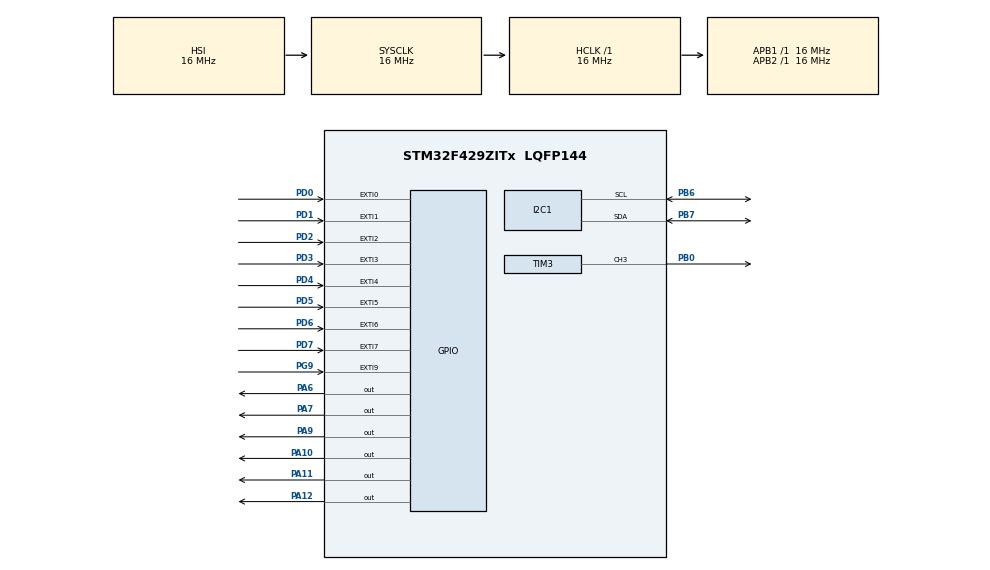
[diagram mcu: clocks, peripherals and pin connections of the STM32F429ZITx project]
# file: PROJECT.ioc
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Mcu.Family=STM32F4
Mcu.Name=STM32F429ZITx
Mcu.Package=LQFP144
NVIC.EXTI0_IRQn=true\:0\:0\:false\:false\:true\:true\:true\:true
NVIC.EXTI1_IRQn=true\:0\:0\:false\:false\:true\:true\:true\:true
NVIC.EXTI2_IRQn=true\:0\:0\:false\:false\:true\:true\:true\:true
NVIC.EXTI3_IRQn=true\:0\:0\:false\:false\:true\:true\:true\:true
NVIC.EXTI4_IRQn=true\:0\:0\:false\:false\:true\:true\:true\:true
NVIC.EXTI9_5_IRQn=true\:0\:0\:false\:false\:true\:true\:true\:true
NVIC.PriorityGroup=NVIC_PRIORITYGROUP_4
PA10.Signal=GPIO_Output
PA11.Signal=GPIO_Output
PA12.Signal=GPIO_Output
PA6.Signal=GPIO_Output
PA7.Signal=GPIO_Output
PA9.Signal=GPIO_Output
PB0.Signal=S_TIM3_CH3
PB6.Mode=I2C
PB6.Signal=I2C1_SCL
PB7.Mode=I2C
PB7.Signal=I2C1_SDA
PD0.GPIO_ModeDefaultEXTI=GPIO_MODE_IT_FALLING
PD0.GPIO_PuPd=GPIO_PULLUP
PD0.Signal=GPXTI0
PD1.GPIO_ModeDefaultEXTI=GPIO_MODE_IT_FALLING
PD1.GPIO_PuPd=GPIO_PULLUP
PD1.Signal=GPXTI1
PD2.GPIO_ModeDefaultEXTI=GPIO_MODE_IT_FALLING
PD2.GPIO_PuPd=GPIO_PULLUP
PD2.Signal=GPXTI2
PD3.GPIO_ModeDefaultEXTI=GPIO_MODE_IT_FALLING
PD3.GPIO_PuPd=GPIO_PULLUP
PD3.Signal=GPXTI3
PD4.GPIO_ModeDefaultEXTI=GPIO_MODE_IT_FALLING
PD4.GPIO_PuPd=GPIO_PULLUP
PD4.Signal=GPXTI4
PD5.GPIO_ModeDefaultEXTI=GPIO_MODE_IT_FALLING
PD5.GPIO_PuPd=GPIO_PULLUP
PD5.Signal=GPXTI5
PD6.GPIO_ModeDefaultEXTI=GPIO_MODE_IT_FALLING
PD6.GPIO_PuPd=GPIO_PULLUP
PD6.Signal=GPXTI6
PD7.GPIO_ModeDefaultEXTI=GPIO_MODE_IT_FALLING
PD7.GPIO_PuPd=GPIO_PULLUP
PD7.Signal=GPXTI7
PG9.GPIO_ModeDefaultEXTI=GPIO_MODE_IT_FALLING
PG9.GPIO_PuPd=GPIO_PULLUP
PG9.Signal=GPXTI9
ProjectManager.HeapSize=0x200
ProjectManager.StackSize=0x400
ProjectManager.TargetToolchain=CMake
RCC.AHBFreq_Value=16000000
RCC.APB1Freq_Value=16000000
RCC.APB2Freq_Value=16000000
RCC.CortexFreq_Value=16000000
RCC.HSE_VALUE=25000000
RCC.HSI_VALUE=16000000
RCC.LSE_VALUE=32768
RCC.SYSCLKFreq_VALUE=16000000
RCC.VCOOutputFreq_Value=192000000
SH.S_TIM3_CH3.0=TIM3_CH3,PWM Generation3 CH3
TIM3.Channel-PWM\ Generation3\ CH3=TIM_CHANNEL_3
VP_TIM3_VS_ClockSourceINT.Mode=Internal
board=custom

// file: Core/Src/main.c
/* USER CODE BEGIN Header */
/**
  ******************************************************************************
  * @file           : main.c
  * @brief          : Main program body
  ******************************************************************************
  * @attention
  *
  * Copyright (c) 2026 STMicroelectronics.
  * All rights reserved.
  *
  * This software is licensed under terms that can be found in the LICENSE file
  * in the root directory of this software component.
  * If no LICENSE file comes with this software, it is provided AS-IS.
  *
  ******************************************************************************
  */
/* USER CODE END Header */
#include "main.h"

/* USER CODE BEGIN Includes */
#include <stdio.h>
#include "lcd.h"
#include "game.h"
#include "button.h"
#include "led.h"
#include "buzzer.h"
/* USER CODE END Includes */

I2C_HandleTypeDef hi2c1;

TIM_HandleTypeDef htim3;

void SystemClock_Config(void);
static void MX_GPIO_Init(void);
static void MX_I2C1_Init(void);
static void MX_TIM3_Init(void);

/* USER CODE BEGIN 0 */

/* turn_off_all_leds() and turn_on_led() moved to led.c */

/* USER CODE END 0 */

int main(void)
{

  /* MCU Configuration--------------------------------------------------------*/

  /* Reset of all peripherals, Initializes the Flash interface and the Systick. */
  HAL_Init();

  /* Configure the system clock */
  SystemClock_Config();

  /* Initialize all configured peripherals */
  MX_GPIO_Init();
  MX_I2C1_Init();
  MX_TIM3_Init();
  /* USER CODE BEGIN 2 */
    buzzer_init();
    lcd_init();
    reset_state();
    lcd_set_cursor(0, 0);
    lcd_print_game(level, get_score());

  /* USER CODE END 2 */

  /* Infinite loop */
  while (1)
  {

    /* USER CODE BEGIN 3 */
    if (pending_sound) {
        uint8_t snd = pending_sound;
        pending_sound = 0;
        if (snd == 1) sound_hit();
        else if (snd == 2) sound_miss();
        else if (snd == 3) sound_game_end();
        else if (snd == 4) sound_level_up();
        else if (snd == 5) sound_level_down();
        else if (snd == 6) {
            sound_countdown();
        }
    }

    next_random_led(level);
  }
  /* USER CODE END 3 */
}

void SystemClock_Config(void)
{
  RCC_OscInitTypeDef RCC_OscInitStruct = {0};
  RCC_ClkInitTypeDef RCC_ClkInitStruct = {0};

  /** Configure the main internal regulator output voltage
  */
  __HAL_RCC_PWR_CLK_ENABLE();
  __HAL_PWR_VOLTAGESCALING_CONFIG(PWR_REGULATOR_VOLTAGE_SCALE3);

  /** Initializes the RCC Oscillators according to the specified parameters
  * in the RCC_OscInitTypeDef structure.
  */
  RCC_OscInitStruct.OscillatorType = RCC_OSCILLATORTYPE_HSI;
  RCC_OscInitStruct.HSIState = RCC_HSI_ON;
  RCC_OscInitStruct.HSICalibrationValue = RCC_HSICALIBRATION_DEFAULT;
  RCC_OscInitStruct.PLL.PLLState = RCC_PLL_NONE;
  if (HAL_RCC_OscConfig(&RCC_OscInitStruct) != HAL_OK)
  {
    Error_Handler();
  }

  /** Initializes the CPU, AHB and APB buses clocks
  */
  RCC_ClkInitStruct.ClockType = RCC_CLOCKTYPE_HCLK|RCC_CLOCKTYPE_SYSCLK
                              |RCC_CLOCKTYPE_PCLK1|RCC_CLOCKTYPE_PCLK2;
  RCC_ClkInitStruct.SYSCLKSource = RCC_SYSCLKSOURCE_HSI;
  RCC_ClkInitStruct.AHBCLKDivider = RCC_SYSCLK_DIV1;
  RCC_ClkInitStruct.APB1CLKDivider = RCC_HCLK_DIV1;
  RCC_ClkInitStruct.APB2CLKDivider = RCC_HCLK_DIV1;

  if (HAL_RCC_ClockConfig(&RCC_ClkInitStruct, FLASH_LATENCY_0) != HAL_OK)
  {
    Error_Handler();
  }
}

static void MX_I2C1_Init(void)
{

  hi2c1.Instance = I2C1;
  hi2c1.Init.ClockSpeed = 100000;
  hi2c1.Init.DutyCycle = I2C_DUTYCYCLE_2;
  hi2c1.Init.OwnAddress1 = 0;
  hi2c1.Init.AddressingMode = I2C_ADDRESSINGMODE_7BIT;
  hi2c1.Init.DualAddressMode = I2C_DUALADDRESS_DISABLE;
  hi2c1.Init.OwnAddress2 = 0;
  hi2c1.Init.GeneralCallMode = I2C_GENERALCALL_DISABLE;
  hi2c1.Init.NoStretchMode = I2C_NOSTRETCH_DISABLE;
  if (HAL_I2C_Init(&hi2c1) != HAL_OK)
  {
    Error_Handler();
  }

  /** Configure Analogue filter
  */
  if (HAL_I2CEx_ConfigAnalogFilter(&hi2c1, I2C_ANALOGFILTER_ENABLE) != HAL_OK)
  {
    Error_Handler();
  }

  /** Configure Digital filter
  */
  if (HAL_I2CEx_ConfigDigitalFilter(&hi2c1, 0) != HAL_OK)
  {
    Error_Handler();
  }

}

static void MX_TIM3_Init(void)
{

  TIM_ClockConfigTypeDef sClockSourceConfig = {0};
  TIM_MasterConfigTypeDef sMasterConfig = {0};
  TIM_OC_InitTypeDef sConfigOC = {0};

  htim3.Instance = TIM3;
  htim3.Init.Prescaler = 0;
  htim3.Init.CounterMode = TIM_COUNTERMODE_UP;
  htim3.Init.Period = 65535;
  htim3.Init.ClockDivision = TIM_CLOCKDIVISION_DIV1;
  htim3.Init.AutoReloadPreload = TIM_AUTORELOAD_PRELOAD_DISABLE;
  if (HAL_TIM_Base_Init(&htim3) != HAL_OK)
  {
    Error_Handler();
  }
  sClockSourceConfig.ClockSource = TIM_CLOCKSOURCE_INTERNAL;
  if (HAL_TIM_ConfigClockSource(&htim3, &sClockSourceConfig) != HAL_OK)
  {
    Error_Handler();
  }
  if (HAL_TIM_PWM_Init(&htim3) != HAL_OK)
  {
    Error_Handler();
  }
  sMasterConfig.MasterOutputTrigger = TIM_TRGO_RESET;
  sMasterConfig.MasterSlaveMode = TIM_MASTERSLAVEMODE_DISABLE;
  if (HAL_TIMEx_MasterConfigSynchronization(&htim3, &sMasterConfig) != HAL_OK)
  {
    Error_Handler();
  }
  sConfigOC.OCMode = TIM_OCMODE_PWM1;
  sConfigOC.Pulse = 0;
  sConfigOC.OCPolarity = TIM_OCPOLARITY_HIGH;
  sConfigOC.OCFastMode = TIM_OCFAST_DISABLE;
  if (HAL_TIM_PWM_ConfigChannel(&htim3, &sConfigOC, TIM_CHANNEL_3) != HAL_OK)
  {
    Error_Handler();
  }
  HAL_TIM_MspPostInit(&htim3);

}

static void MX_GPIO_Init(void)
{
  GPIO_InitTypeDef GPIO_InitStruct = {0};

  /* GPIO Ports Clock Enable */
  __HAL_RCC_GPIOA_CLK_ENABLE();
  __HAL_RCC_GPIOB_CLK_ENABLE();
  __HAL_RCC_GPIOD_CLK_ENABLE();
  __HAL_RCC_GPIOG_CLK_ENABLE();

  /*Configure GPIO pin Output Level */
  HAL_GPIO_WritePin(GPIOA, GPIO_PIN_6|GPIO_PIN_7|GPIO_PIN_9|GPIO_PIN_10
                          |GPIO_PIN_11|GPIO_PIN_12, GPIO_PIN_RESET);

  /*Configure GPIO pins : PA6 PA7 PA9 PA10
                           PA11 PA12 */
  GPIO_InitStruct.Pin = GPIO_PIN_6|GPIO_PIN_7|GPIO_PIN_9|GPIO_PIN_10
                          |GPIO_PIN_11|GPIO_PIN_12;
  GPIO_InitStruct.Mode = GPIO_MODE_OUTPUT_PP;
  GPIO_InitStruct.Pull = GPIO_NOPULL;
  GPIO_InitStruct.Speed = GPIO_SPEED_FREQ_LOW;
  HAL_GPIO_Init(GPIOA, &GPIO_InitStruct);

  /*Configure GPIO pins : PD0 PD1 PD2 PD3
                           PD4 PD5 PD6 PD7 */
  GPIO_InitStruct.Pin = GPIO_PIN_0|GPIO_PIN_1|GPIO_PIN_2|GPIO_PIN_3
                          |GPIO_PIN_4|GPIO_PIN_5|GPIO_PIN_6|GPIO_PIN_7;
  GPIO_InitStruct.Mode = GPIO_MODE_IT_FALLING;
  GPIO_InitStruct.Pull = GPIO_PULLUP;
  HAL_GPIO_Init(GPIOD, &GPIO_InitStruct);

  /*Configure GPIO pin : PG9 */
  GPIO_InitStruct.Pin = GPIO_PIN_9;
  GPIO_InitStruct.Mode = GPIO_MODE_IT_FALLING;
  GPIO_InitStruct.Pull = GPIO_PULLUP;
  HAL_GPIO_Init(GPIOG, &GPIO_InitStruct);

  /* EXTI interrupt init*/
  HAL_NVIC_SetPriority(EXTI0_IRQn, 0, 0);
  HAL_NVIC_EnableIRQ(EXTI0_IRQn);

  HAL_NVIC_SetPriority(EXTI1_IRQn, 0, 0);
  HAL_NVIC_EnableIRQ(EXTI1_IRQn);

  HAL_NVIC_SetPriority(EXTI2_IRQn, 0, 0);
  HAL_NVIC_EnableIRQ(EXTI2_IRQn);

  HAL_NVIC_SetPriority(EXTI3_IRQn, 0, 0);
  HAL_NVIC_EnableIRQ(EXTI3_IRQn);

  HAL_NVIC_SetPriority(EXTI4_IRQn, 0, 0);
  HAL_NVIC_EnableIRQ(EXTI4_IRQn);

  HAL_NVIC_SetPriority(EXTI9_5_IRQn, 0, 0);
  HAL_NVIC_EnableIRQ(EXTI9_5_IRQn);

}

/* USER CODE BEGIN 4 */
volatile uint32_t last_button_time = 0;
void HAL_GPIO_EXTI_Callback(uint16_t GPIO_Pin)
{
    uint32_t current_time = HAL_GetTick();
    if (current_time - last_button_time > 200) {
            handle_press_button(GPIO_Pin);
        last_button_time = current_time;
    }
}
/* USER CODE END 4 */

void Error_Handler(void)
{
  __disable_irq();
  while (1)
  {
  }
}
